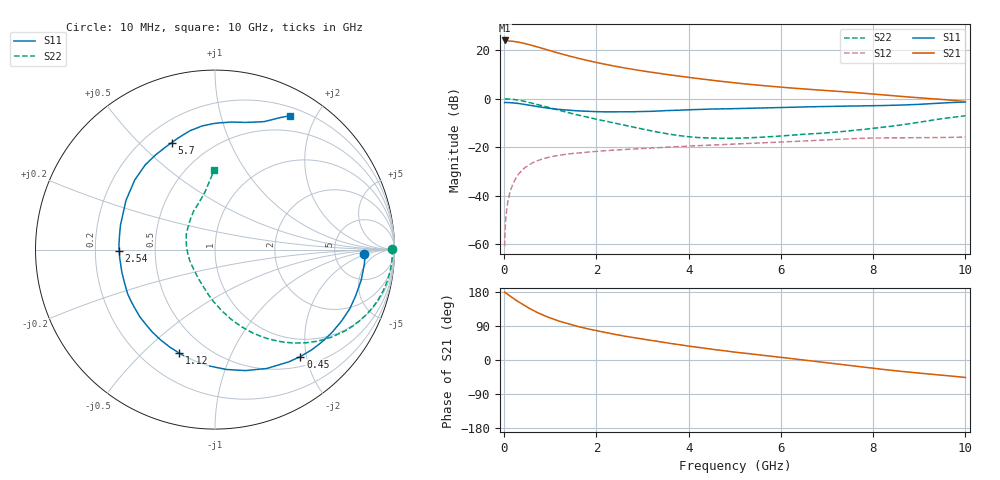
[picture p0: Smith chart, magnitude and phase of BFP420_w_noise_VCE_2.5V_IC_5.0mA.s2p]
! Infineon Technologies  Discrete & RF Semiconductors
! BFP420
! VCE =  2.5 V,  IC =  5.0 mA
! Common Emitter S-Parameters:  Jan 2016
# GHz  S  MA  R  50
!  f  S11  S21  S12  S22
! GHz  MAG  ANG  MAG  ANG  MAG  ANG  MAG  ANG
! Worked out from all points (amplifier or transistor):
!   233 points, 10 MHz to 10 GHz, reference 50 ohm
!   highest |S21| = 24.0 dB at 10 MHz (marker M1)
!   |S21| within 3 dB of that: start of sweep to 778.1 MHz
!   unconditionally stable (mu >= 1): 3 GHz to end of sweep
!   at 200 MHz: K = 0.07, MSG = 29.2 dB, |S12| = -34.8 dB
!   at 1.74 GHz: K = 0.61, MSG = 19.1 dB, |S12| = -22.2 dB
!   at 10 GHz: K = 1.13, MAG = 5.2 dB, |S12| = -15.9 dB
!   lowest NFmin = 0.66 dB at 900 MHz
!   S11 on the Smith chart (normalised r, x): 10 MHz: 11, -2; 450 MHz: 0.66, -1.89; 1.12 GHz: 0.35, -0.65; 2.54 GHz: 0.30, -0.00; 5.7 GHz: 0.31, +0.63; 10 GHz: 0.30, +1.67
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0.01  0.8316 -1.8  15.94 179.2  0.0009 102.7  0.9846 0.2
0.02  0.8368 -2.5  15.53 178.3  0.0019 84.9  0.9885 -1.3
0.07  0.8332 -8.2  15.55 173.8  0.0065 84.1  0.9859 -4.8
0.15  0.8255 -17.8  15.44 166.9  0.0138 81.0  0.9759 -10.3
0.26  0.8074 -30.4  14.93 157.6  0.0233 74.3  0.9484 -17.6
0.34  0.7897 -39.5  14.51 151.3  0.0297 69.9  0.9213 -22.6
0.45  0.7623 -51.4  13.76 143.0  0.0376 64.2  0.8776 -29.1
0.6  0.7224 -66.5  12.64 132.5  0.0466 57.4  0.811 -37.0
0.7  0.695 -75.9  11.89 126.4  0.0516 53.5  0.7659 -41.8
0.9  0.6489 -92.9  10.44 115.5  0.0595 47.0  0.6808 -49.9
1.12  0.6096 -109.3  9.062 105.6  0.066 41.7  0.5986 -57.3
1.4  0.577 -127.3  7.648 94.9  0.0722 36.5  0.5111 -65.5
1.68  0.5552 -142.5  6.561 86.1  0.0771 32.7  0.4411 -72.3
2.02  0.5388 -158.2  5.538 76.8  0.082 29.2  0.3732 -79.7
2.54  0.534 -179.4  4.437 64.6  0.0884 25.0  0.2908 -91.3
3.4  0.5594 153.9  3.287 47.7  0.098 19.8  0.1984 -113.9
4  0.5918 139.1  2.754 36.6  0.105 16.7  0.1637 -135.3
5.1  0.6249 120.6  2.074 19.5  0.1167 10.8  0.1533 -173.2
5.7  0.6428 112.1  1.83 11.2  0.1232 7.8  0.1624 169.1
6.8  0.6855 98.3  1.514 -4.4  0.1382 1.4  0.1912 143.0
8.4  0.7279 76.8  1.158 -27.3  0.1552 -12.5  0.2697 110.6
10  0.856 60.6  0.875 -46.1  0.1607 -22.3  0.4439 90.6
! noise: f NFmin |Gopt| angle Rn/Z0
0.9  0.66  0.21  31  0.15
1.8  1.05  0.09  93  0.13
2.4  1.14  0.14  119  0.13
3  1.24  0.17  165  0.11
4  1.41  0.31  -145  0.12
5  1.85  0.38  -119  0.21
6  2.3  0.45  -101  0.36
